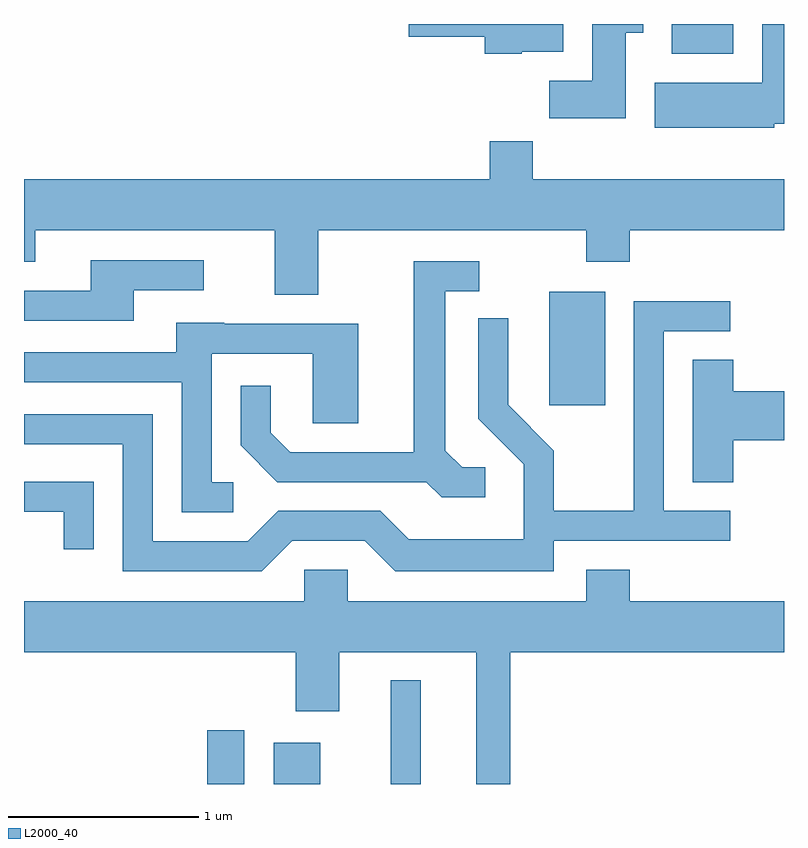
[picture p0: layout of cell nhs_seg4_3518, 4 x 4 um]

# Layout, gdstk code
import gdstk
lib = gdstk.Library(unit=1e-6, precision=1e-09)
def R(c, l, rs):  # rectangles x0, y0, x1, y1
    for r in rs: c.add(gdstk.rectangle(r[:2], r[2:], *l))
def P(c, l, *ps):  # polygons
    for p in ps: c.add(gdstk.Polygon(p, *l))
L2000_40 = (2000, 40)

nhs_seg4_3518 = lib.new_cell('nhs_seg4_3518')
R(nhs_seg4_3518, L2000_40, [(288.576,1353.982,288.769,1354.264), (288.926,1353.982,289.169,1354.199), (289.541,1353.982,289.699,1354.528), (290.376,1355.976,290.669,1356.574), (291.021,1357.826,291.344,1357.982)])
P(nhs_seg4_3518, L2000_40, [(291.559,1357.456),(291.611,1357.456),(291.611,1357.982),(291.496,1357.982),(291.496,1357.674),(290.931,1357.674),(290.931,1357.436),(291.559,1357.436)],
  [(290.23,1357.836),(290.449,1357.836),(290.449,1357.982),(289.636,1357.982),(289.636,1357.916),(290.036,1357.916),(290.036,1357.826),(290.23,1357.826)],
  [(290.779,1357.936),(290.869,1357.936),(290.869,1357.982),(290.601,1357.982),(290.601,1357.684),(290.376,1357.684),(290.376,1357.486),(290.779,1357.486)],
  [(289.159,1356.896),(290.571,1356.896),(290.571,1356.731),(290.799,1356.731),(290.799,1356.896),(291.611,1356.896),(291.611,1357.164),(290.289,1357.164),(290.289,1357.364),(290.061,1357.364),(290.061,1357.164),(287.611,1357.164),(287.611,1356.731),(287.669,1356.731),(287.669,1356.896),(288.931,1356.896),(288.931,1356.556),(289.159,1356.556)],
  [(288.189,1356.581),(288.558,1356.581),(288.558,1356.739),(287.961,1356.739),(287.961,1356.579),(287.611,1356.579),(287.611,1356.421),(288.189,1356.421)],
  [(290.038,1355.649),(289.917,1355.649),(289.829,1355.737),(289.829,1356.576),(290.008,1356.576),(290.008,1356.734),(289.661,1356.734),(289.661,1355.729),(289.012,1355.729),(288.909,1355.832),(288.909,1356.078),(288.751,1356.078),(288.751,1355.764),(288.944,1355.571),(289.729,1355.571),(289.809,1355.491),(290.038,1355.491)],
  [(289.022,1355.261),(289.404,1355.261),(289.564,1355.101),(290.399,1355.101),(290.399,1355.261),(291.328,1355.261),(291.328,1355.419),(290.979,1355.419),(290.979,1356.366),(291.328,1356.366),(291.328,1356.524),(290.821,1356.524),(290.821,1355.419),(290.399,1355.419),(290.399,1355.737),(290.159,1355.977),(290.159,1356.433),(290.001,1356.433),(290.001,1355.904),(290.241,1355.664),(290.241,1355.269),(289.637,1355.269),(289.487,1355.419),(288.949,1355.419),(288.789,1355.259),(288.289,1355.259),(288.289,1355.929),(287.611,1355.929),(287.611,1355.771),(288.131,1355.771),(288.131,1355.101),(288.862,1355.101)],
  [(288.713,1355.569),(288.599,1355.569),(288.599,1356.246),(289.131,1356.246),(289.131,1355.881),(289.369,1355.881),(289.369,1356.404),(288.665,1356.404),(288.665,1356.409),(288.411,1356.409),(288.411,1356.254),(287.611,1356.254),(287.611,1356.096),(288.441,1356.096),(288.441,1355.411),(288.713,1355.411)],
  [(291.344,1355.791),(291.611,1355.791),(291.611,1356.049),(291.344,1356.049),(291.344,1356.214),(291.131,1356.214),(291.131,1355.571),(291.344,1355.571)],
  [(287.979,1355.574),(287.611,1355.574),(287.611,1355.416),(287.821,1355.416),(287.821,1355.218),(287.979,1355.218)],
  [(290.169,1354.676),(291.611,1354.676),(291.611,1354.944),(290.799,1354.944),(290.799,1355.109),(290.571,1355.109),(290.571,1354.944),(289.314,1354.944),(289.314,1355.109),(289.086,1355.109),(289.086,1354.944),(287.611,1354.944),(287.611,1354.676),(289.041,1354.676),(289.041,1354.366),(289.269,1354.366),(289.269,1354.676),(289.991,1354.676),(289.991,1353.982),(290.169,1353.982)])

lib.write_gds('nhs_seg4_3518.gds')
